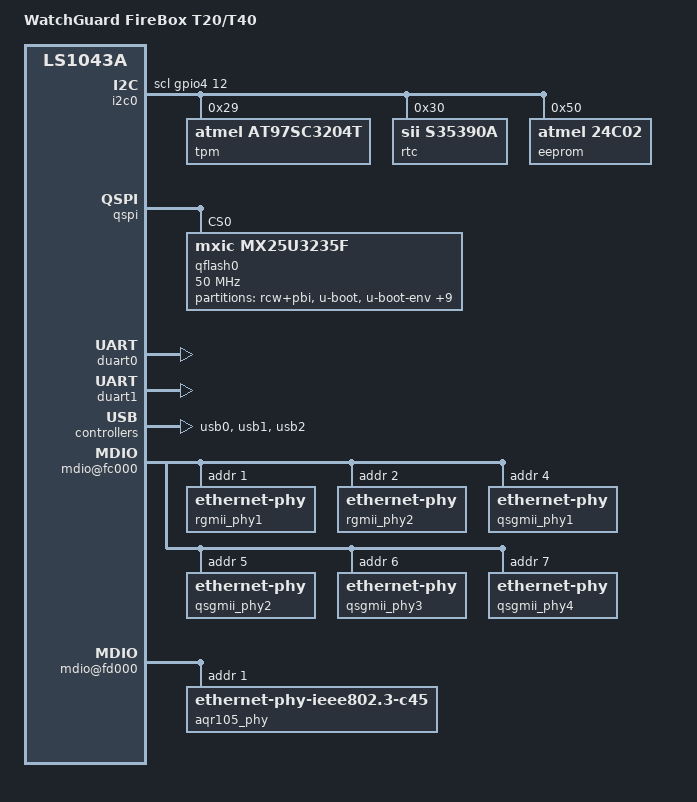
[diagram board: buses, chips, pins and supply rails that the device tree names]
// SPDX-License-Identifier: (GPL-2.0+ OR MIT)
// https://github.com/neggles/openwrt/commit/0e2ba8ef96acc7a6c7fcb57319e89563decea333#diff-73fafdd684ce62f3c48c572d7966775d7a9ef262213ecfea4bd6b75c58bc678c

/dts-v1/;
#include "fsl-ls1043a.dtsi"
#include <dt-bindings/gpio/gpio.h>
#include <dt-bindings/input/input.h>

/ {
	model = "WatchGuard FireBox T20/T40";
	compatible = "watchguard,firebox-t20", "watchguard,firebox-t40",
		     "fsl,ls1043a-rdb", "fsl,ls1043a";

	aliases {
		crypto = &crypto;
		serial0 = &duart0;
		serial1 = &duart1;
		serial2 = &duart2;
		serial3 = &duart3;
	};

	chosen {
		stdout-path = "serial0:115200n8";
	};
};

&i2c0 {
	status = "okay";
	scl-gpios = <&gpio4 12 0>;

	tpm@29 {
		reg = <0x29>;
		label = "tpm";
		compatible = "atmel,at97sc3204t";
	};

	rtc@30 {
		reg = <0x30>;
		compatible = "sii,s35390a";
	};

	eeprom@50 {
		reg = <0x50>;
		compatible = "atmel,24c02";
		pagesize = <1>;
	};
};

&qspi {
	status = "okay";
	bus-num = <0>;
	big-endian;

	qflash0: flash@0 {
		compatible = "mxic,mx25u3235f", "jedec,spi-nor";
		#address-cells = <1>;
		#size-cells = <1>;
		spi-max-frequency = <50000000>;
		spi-rx-bus-width = <4>;
		spi-tx-bus-width = <4>;
		reg = <0>;

		partitions {
			compatible = "fixed-partitions";
			#address-cells = <1>;
			#size-cells = <1>;

			partition@0 {
				reg = <0x00 0x100000>;
				label = "rcw+pbi";
				read-only;
			};

			partition@100000 {
				reg = <0x100000 0x100000>;
				label = "u-boot";
				read-only;
			};

			partition@200000 {
				reg = <0x200000 0x10000>;
				label = "u-boot-env";
			};

			partition@210000 {
				reg = <0x210000 0x10000>;
				label = "empty-1";
				read-only;
			};

			partition@220000 {
				reg = <0x220000 0x20000>;
				label = "fman ucode";
				read-only;
			};

			partition@240000 {
				reg = <0x240000 0x40000>;
				label = "empty-2-ppa";
				read-only;
			};

			partition@280000 {
				reg = <0x280000 0x20000>;
				label = "wg-cfg0";
				read-only;
			};

			partition@2a0000 {
				reg = <0x2a0000 0x20000>;
				label = "wg-cfg1";
				read-only;
			};

			partition@2c0000 {
				reg = <0x2c0000 0x20000>;
				label = "wg-mfg";
				read-only;
			};

			partition@2e0000 {
				reg = <0x2e0000 0x20000>;
				label = "empty-3";
				read-only;
			};

			partition@300000 {
				reg = <0x300000 0x20000>;
				label = "fman-ucode-old";
				read-only;
			};

			partition@320000 {
				reg = <0x320000 0xe0000>;
				label = "wg-bootopt";
				read-only;
			};
		};
	};
};

&duart0 {
	status = "okay";
};

&duart1 {
	status = "okay";
};

&usb0 {
	status = "okay";
	snps,dis-u1u2-when-u3-quirk;
	snps,host-vbus-glitches;
};

&usb1 {
	status = "okay";
	snps,dis-u1u2-when-u3-quirk;
	snps,host-vbus-glitches;
};

&usb2 {
	status = "okay";
	snps,dis-u1u2-when-u3-quirk;
	snps,host-vbus-glitches;
};

#include "fsl-ls1043-post.dtsi"

// -- from fsl-ls1043a-rdb.dts
&fman0 {
	ethernet@e0000 {
		phy-handle = <&qsgmii_phy1>;
		phy-connection-type = "qsgmii";
	};

	ethernet@e2000 {
		phy-handle = <&qsgmii_phy2>;
		phy-connection-type = "qsgmii";
	};

	ethernet@e4000 {
		phy-handle = <&rgmii_phy1>;
		phy-connection-type = "rgmii-id";
	};

	ethernet@e6000 {
		phy-handle = <&rgmii_phy2>;
		phy-connection-type = "rgmii-id";
	};

	ethernet@e8000 {
		phy-handle = <&qsgmii_phy3>;
		phy-connection-type = "qsgmii";
	};

	ethernet@ea000 {
		phy-handle = <&qsgmii_phy4>;
		phy-connection-type = "qsgmii";
	};

	ethernet@f0000 { /* 10GEC1 */
		phy-handle = <&aqr105_phy>;
		phy-connection-type = "xgmii";
	};

	mdio@fc000 {
		rgmii_phy1: ethernet-phy@1 {
			reg = <0x1>;
		};

		rgmii_phy2: ethernet-phy@2 {
			reg = <0x2>;
		};

		qsgmii_phy1: ethernet-phy@4 {
			reg = <0x4>;
		};

		qsgmii_phy2: ethernet-phy@5 {
			reg = <0x5>;
		};

		qsgmii_phy3: ethernet-phy@6 {
			reg = <0x6>;
		};

		qsgmii_phy4: ethernet-phy@7 {
			reg = <0x7>;
		};
	};

	mdio@fd000 {
		aqr105_phy: ethernet-phy@1 {
			compatible = "ethernet-phy-ieee802.3-c45";
			interrupts = <0 132 4>;
			reg = <0x1>;
		};
	};
};
// -- end

&uqe {
	ucc_hdlc: ucc@2000 {
		compatible = "fsl,ucc-hdlc";
		rx-clock-name = "clk8";
		tx-clock-name = "clk9";
		fsl,rx-sync-clock = "rsync_pin";
		fsl,tx-sync-clock = "tsync_pin";
		fsl,tx-timeslot-mask = <0xfffffffe>;
		fsl,rx-timeslot-mask = <0xfffffffe>;
		fsl,tdm-framer-type = "e1";
		fsl,tdm-id = <0>;
		fsl,siram-entry-id = <0>;
		fsl,tdm-interface;
	};
};

// WG T40 does not support secure boot, so remove OP-TEE
// not doing this will cause kernel panic at boot
/delete-node/ &{/firmware/optee};

// for some reason, usb enumeration stops working if 
// soc is marked dma-coherent
&soc {
    /delete-property/ dma-coherent;
};
